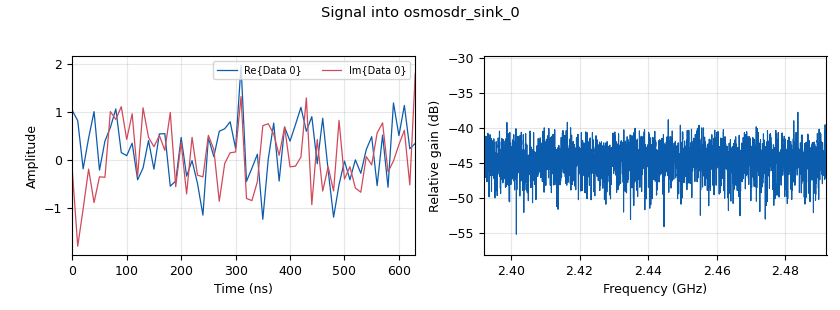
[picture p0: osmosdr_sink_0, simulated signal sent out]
options:
  parameters:
    author: cyrusadm
    generate_options: qt_gui
    id: jamrf_sense
    output_language: python
    title: Jam path from jamrf
  states: {}

blocks:
- name: samp_rate
  id: variable
  parameters:
    value: 100e6
  states: {}
- name: analog_noise_source_x_0
  id: analog_noise_source_x
  parameters:
    amp: '1.0'
    noise_type: analog.GR_GAUSSIAN
    seed: '1'
    type: complex
  states: {}
- name: osmosdr_sink_0
  id: osmosdr_sink
  parameters:
    args: '"numchan=1 "'
    bb_gain0: '20'
    bw0: 100e6
    freq0: 2442e6
    gain0: '14'
    if_gain0: '48'
    sample_rate: samp_rate
    sync: sync
    type: fc32
  states: {}

connections:
- [analog_noise_source_x_0, '0', osmosdr_sink_0, '0']

metadata:
  file_format: 1
  grc_version: 3.10.8.0
